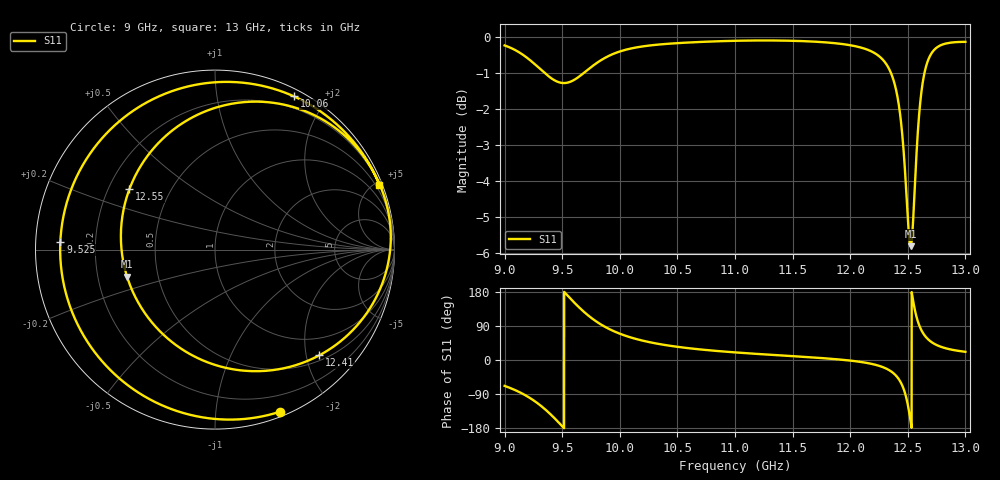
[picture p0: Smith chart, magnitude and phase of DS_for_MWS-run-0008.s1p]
! TOUCHSTONE file generated by CST DESIGN STUDIO
! Date and time: Tue Feb  4 18:45:15 2025
! Project name: C:\Work\MatlabApps\UnitCellOptimizationMatlab\CST\unitcell.cst
! Tree item: Tasks\Sweep1\SPara1\S-Parameters
! Header version: 2024
! Port assignment regex: !\s*Touchstone port\s*([0-9]+)\s*=\s*(CST MWS port|CST DES external port|CST DES block port)\s*(.+)\s* \(\"(.*)\"\)(\s*mode\s*([0-9]+))?.*
! Touchstone port assignment:
! Touchstone port 1 = CST DES external port 1 ("")
# GHz S MA R 50
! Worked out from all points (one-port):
!   4001 points, 9 GHz to 13 GHz, reference 50 ohm
!   lowest |S11| = -5.8 dB at 12.53 GHz (marker M1), VSWR 3.10, Z = 16.4 - j6.71 ohm
!   |S11| at or under -10 dB: nowhere
!   S11 on the Smith chart (normalised r, x): 9 GHz: 0.04, -1.47; 9.525 GHz: 0.07, +0.03; 10.06 GHz: 0.07, +1.64; 12.41 GHz: 0.60, -2.26; 12.55 GHz: 0.29, +0.29; 13 GHz: 0.23, +5.23
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9  0.9728 -68.3
9.162  0.9435 -90.0
9.28  0.911 -112.7
9.385  0.8809 -139.3
9.5  0.863 -174.8
9.525  0.8629 177.1
9.64  0.8791 140.8
9.739  0.9046 114.3
9.85  0.9308 91.2
10  0.9542 69.4
10.061  0.9604 62.8
10.5  0.9799 34.8
11  0.9873 20.1
11.5  0.9873 10.2
12  0.9735 -1.5
12.282  0.93 -18.7
12.356  0.8892 -30.3
12.409  0.8278 -45.3
12.464  0.6941 -76.4
12.5  0.5612 -117.9
12.525  0.5127 -162.9
12.553  0.5835 144.9
12.579  0.7035 110.1
12.607  0.808 85.8
12.652  0.9016 62.5
12.704  0.9477 47.7
12.812  0.977 32.4
13  0.984 21.6
